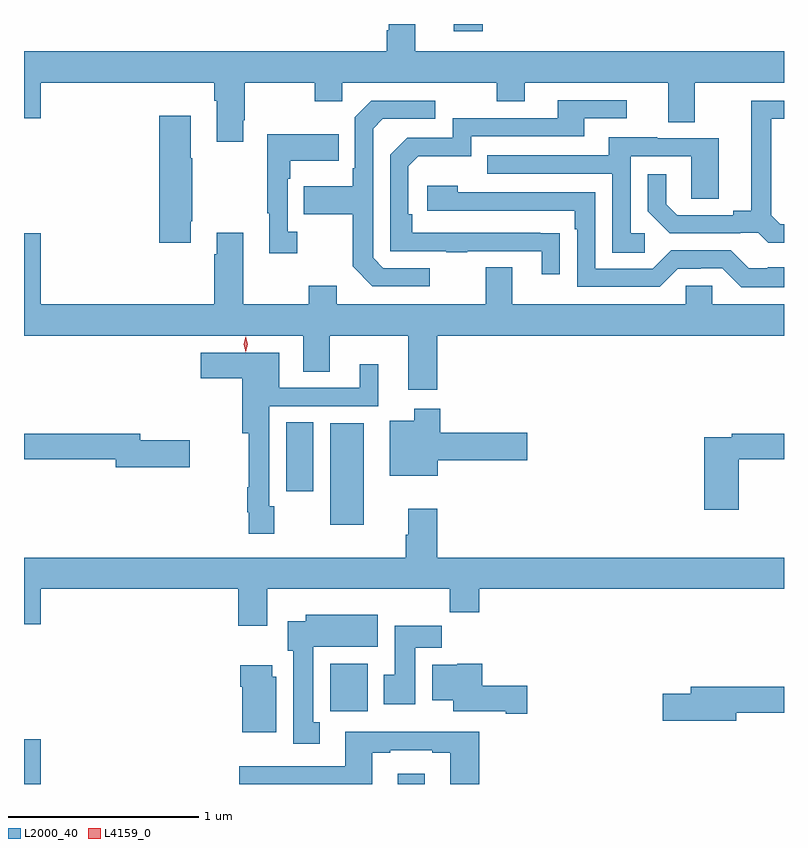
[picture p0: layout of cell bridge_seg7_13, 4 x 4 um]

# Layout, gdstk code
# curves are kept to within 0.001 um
import gdstk
lib = gdstk.Library(unit=1e-6, precision=1e-09)
def R(c, l, rs):  # rectangles x0, y0, x1, y1
    for r in rs: c.add(gdstk.rectangle(r[:2], r[2:], *l))
def P(c, l, *ps):  # polygons
    for p in ps: c.add(gdstk.Polygon(p, *l))
L2000_40 = (2000, 40)
L4159_0 = (4159, 0)

bridge_seg7_13 = lib.new_cell('bridge_seg7_13')
R(bridge_seg7_13, L2000_40, [(1100.147,1076.844,1100.236,1077.079), (1102.115,1076.844,1102.255,1076.899), (1101.759,1077.228,1101.955,1077.478), (1101.758,1078.208,1101.934,1078.744), (1101.527,1078.386,1101.67,1078.748), (1102.409,1080.807,1102.562,1080.844)])
P(bridge_seg7_13, L2000_40, [(1101.301,1080.337),(1101.309,1080.337),(1101.309,1080.536),(1101.676,1080.536),(1101.676,1080.437),(1101.822,1080.437),(1101.822,1080.536),(1102.636,1080.536),(1102.636,1080.437),(1102.783,1080.437),(1102.783,1080.536),(1103.537,1080.536),(1103.537,1080.328),(1103.677,1080.328),(1103.677,1080.536),(1104.147,1080.536),(1104.147,1080.7),(1102.207,1080.7),(1102.207,1080.844),(1102.067,1080.844),(1102.067,1080.81),(1102.055,1080.81),(1102.055,1080.7),(1100.147,1080.7),(1100.147,1080.348),(1100.236,1080.348),(1100.236,1080.536),(1101.149,1080.536),(1101.149,1080.44),(1101.161,1080.44),(1101.161,1080.225),(1101.301,1080.225)],
  [(1102.967,1079.744),(1102.19,1079.745),(1102.19,1079.842),(1102.17,1079.842),(1102.17,1080.096),(1102.223,1080.149),(1102.5,1080.149),(1102.5,1080.252),(1103.095,1080.252),(1103.095,1080.348),(1103.32,1080.348),(1103.32,1080.444),(1102.955,1080.444),(1102.955,1080.348),(1102.404,1080.348),(1102.404,1080.246),(1102.164,1080.246),(1102.074,1080.156),(1102.074,1079.649),(1102.369,1079.649),(1102.369,1079.644),(1102.481,1079.644),(1102.481,1079.649),(1102.871,1079.649),(1102.871,1079.526),(1102.967,1079.526)],
  [(1104.147,1079.79),(1104.126,1079.79),(1104.079,1079.837),(1104.079,1080.345),(1104.147,1080.345),(1104.147,1080.441),(1103.975,1080.441),(1103.975,1079.861),(1103.879,1079.861),(1103.879,1079.838),(1103.584,1079.838),(1103.527,1079.895),(1103.527,1080.052),(1103.43,1080.052),(1103.43,1079.858),(1103.546,1079.742),(1103.918,1079.742),(1103.918,1079.745),(1104.012,1079.745),(1104.064,1079.693),(1104.147,1079.693)],
  [(1102.282,1079.559),(1102.038,1079.559),(1101.984,1079.613),(1101.984,1080.294),(1102.035,1080.345),(1102.312,1080.345),(1102.312,1080.441),(1101.975,1080.441),(1101.888,1080.354),(1101.888,1080.085),(1101.876,1080.085),(1101.876,1079.989),(1101.619,1079.989),(1101.619,1079.842),(1101.876,1079.842),(1101.876,1079.569),(1101.981,1079.463),(1102.282,1079.463)],
  [(1101.025,1079.806),(1101.033,1079.806),(1101.033,1080.137),(1101.025,1080.137),(1101.025,1080.361),(1100.858,1080.361),(1100.858,1079.694),(1101.025,1079.694)],
  [(1101.586,1079.75),(1101.534,1079.75),(1101.534,1080.029),(1101.547,1080.029),(1101.547,1080.125),(1101.803,1080.125),(1101.803,1080.265),(1101.426,1080.265),(1101.426,1079.849),(1101.437,1079.849),(1101.437,1079.637),(1101.586,1079.637)],
  [(1103.413,1079.742),(1103.34,1079.742),(1103.34,1080.147),(1103.658,1080.147),(1103.658,1079.923),(1103.803,1079.923),(1103.803,1080.243),(1103.479,1080.243),(1103.479,1080.247),(1103.225,1080.247),(1103.225,1080.153),(1102.585,1080.153),(1102.585,1080.057),(1103.244,1080.057),(1103.244,1079.641),(1103.413,1079.641)],
  [(1104.147,1079.563),(1104.061,1079.563),(1104.061,1079.559),(1103.961,1079.559),(1103.868,1079.652),(1103.553,1079.652),(1103.457,1079.556),(1103.154,1079.556),(1103.154,1079.958),(1102.43,1079.958),(1102.43,1079.992),(1102.269,1079.992),(1102.269,1079.862),(1103.045,1079.862),(1103.045,1079.765),(1103.058,1079.765),(1103.058,1079.46),(1103.493,1079.46),(1103.589,1079.556),(1103.708,1079.556),(1103.708,1079.559),(1103.823,1079.559),(1103.923,1079.459),(1104.147,1079.459)],
  [(1102.322,1079.204),(1104.147,1079.204),(1104.147,1079.368),(1103.769,1079.368),(1103.769,1079.466),(1103.631,1079.466),(1103.631,1079.368),(1102.717,1079.368),(1102.717,1079.563),(1102.577,1079.563),(1102.577,1079.368),(1101.793,1079.368),(1101.793,1079.467),(1101.646,1079.467),(1101.646,1079.368),(1101.301,1079.368),(1101.301,1079.746),(1101.161,1079.746),(1101.161,1079.633),(1101.149,1079.633),(1101.149,1079.368),(1100.236,1079.368),(1100.236,1079.743),(1100.147,1079.743),(1100.147,1079.204),(1101.617,1079.204),(1101.617,1079.014),(1101.757,1079.014),(1101.757,1079.204),(1102.169,1079.204),(1102.169,1078.92),(1102.322,1078.92)],
  [(1101.465,1078.305),(1101.438,1078.305),(1101.438,1078.833),(1102.012,1078.833),(1102.012,1079.053),(1101.914,1079.053),(1101.914,1078.929),(1101.49,1078.929),(1101.49,1079.113),(1101.078,1079.113),(1101.078,1078.979),(1101.296,1078.979),(1101.296,1078.691),(1101.33,1078.691),(1101.33,1078.405),(1101.322,1078.405),(1101.322,1078.273),(1101.33,1078.273),(1101.33,1078.161),(1101.465,1078.161)],
  [(1102.324,1078.547),(1102.795,1078.547),(1102.795,1078.694),(1102.337,1078.694),(1102.337,1078.819),(1102.202,1078.819),(1102.202,1078.756),(1102.073,1078.756),(1102.073,1078.466),(1102.324,1078.466)],
  [(1103.909,1078.552),(1104.147,1078.552),(1104.147,1078.688),(1103.872,1078.688),(1103.872,1078.668),(1103.726,1078.668),(1103.726,1078.287),(1103.909,1078.287)],
  [(1101.019,1078.652),(1100.758,1078.652),(1100.758,1078.688),(1100.147,1078.688),(1100.147,1078.552),(1100.63,1078.552),(1100.63,1078.51),(1101.019,1078.51)],
  [(1102.322,1078.294),(1102.169,1078.294),(1102.169,1078.157),(1102.157,1078.157),(1102.157,1078.036),(1100.147,1078.036),(1100.147,1077.684),(1100.236,1077.684),(1100.236,1077.872),(1101.275,1077.872),(1101.275,1077.678),(1101.427,1077.678),(1101.427,1077.872),(1102.387,1077.872),(1102.387,1077.748),(1102.544,1077.748),(1102.544,1077.872),(1104.147,1077.872),(1104.147,1078.036),(1102.322,1078.036)],
  [(1101.703,1077.169),(1101.67,1077.169),(1101.67,1077.566),(1102.009,1077.566),(1102.009,1077.736),(1101.629,1077.736),(1101.629,1077.7),(1101.536,1077.7),(1101.536,1077.546),(1101.563,1077.546),(1101.563,1077.057),(1101.703,1077.057)],
  [(1102.207,1077.56),(1102.346,1077.56),(1102.346,1077.678),(1102.097,1077.678),(1102.097,1077.42),(1102.04,1077.42),(1102.04,1077.264),(1102.207,1077.264)],
  [(1102.795,1077.362),(1102.559,1077.362),(1102.559,1077.478),(1102.428,1077.478),(1102.428,1077.472),(1102.295,1077.472),(1102.295,1077.284),(1102.406,1077.284),(1102.406,1077.227),(1102.682,1077.227),(1102.682,1077.215),(1102.795,1077.215)],
  [(1101.475,1077.408),(1101.454,1077.408),(1101.454,1077.469),(1101.284,1077.469),(1101.284,1077.356),(1101.296,1077.356),(1101.296,1077.116),(1101.475,1077.116)],
  [(1103.896,1077.22),(1104.147,1077.22),(1104.147,1077.356),(1103.657,1077.356),(1103.657,1077.32),(1103.508,1077.32),(1103.508,1077.178),(1103.896,1077.178)],
  [(1101.979,1077.009),(1102.075,1077.009),(1102.075,1077.021),(1102.295,1077.021),(1102.295,1077.009),(1102.391,1077.009),(1102.391,1076.844),(1102.544,1076.844),(1102.544,1077.118),(1101.839,1077.118),(1101.839,1076.937),(1101.279,1076.937),(1101.279,1076.844),(1101.979,1076.844)])
P(bridge_seg7_13, L4159_0, [(1101.313,1079.117),(1101.313,1079.118),(1101.304,1079.158),(1101.314,1079.199),(1101.314,1079.199),(1101.314,1079.199),(1101.324,1079.158),(1101.314,1079.118)])

lib.write_gds('bridge_seg7_13.gds')
